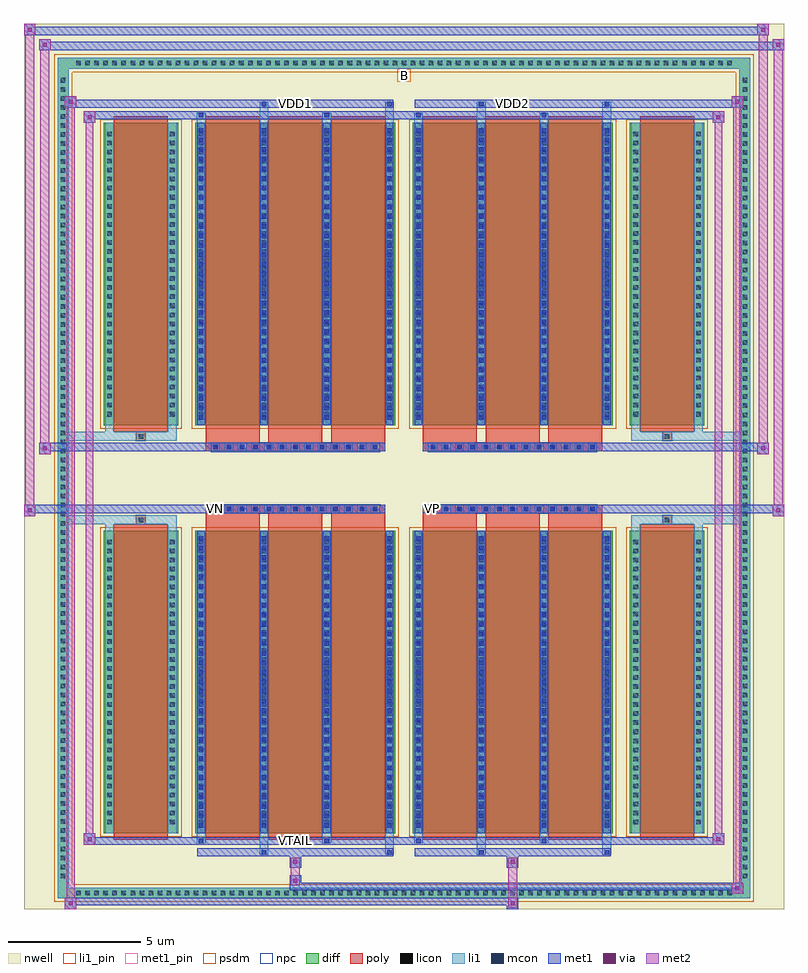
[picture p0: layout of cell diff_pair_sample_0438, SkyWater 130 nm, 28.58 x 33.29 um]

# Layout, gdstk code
import gdstk
lib = gdstk.Library(unit=1e-6, precision=5e-09)
def R(c, l, rs):  # rectangles x0, y0, x1, y1
    for r in rs: c.add(gdstk.rectangle(r[:2], r[2:], *l))
def A(c, l, x, y, w, h, nx, ny, dx, dy):  # array of equal rectangles
    R(c, l, [(x+i*dx, y+j*dy, x+i*dx+w, y+j*dy+h) for i in range(nx) for j in range(ny)])
def P(c, l, *ps):  # polygons
    for p in ps: c.add(gdstk.Polygon(p, *l))
nwell = (64, 20)
diff = (65, 20)
poly = (66, 20)
licon = (66, 44)
li1_pin = (67, 16)
li1 = (67, 20)
mcon = (67, 44)
met1_pin = (68, 16)
met1 = (68, 20)
via = (68, 44)
met2 = (69, 20)
psdm = (94, 20)
npc = (95, 20)

diff_pair_sample_0438 = lib.new_cell('diff_pair_sample_0438')
R(diff_pair_sample_0438, nwell, [(-14.29,-16.21,14.29,17.08), (-11.61,-14.4,-0.01,-0.8), (0.01,-14.4,11.61,-0.8), (-11.61,0.8,-0.01,14.4), (0.01,0.8,11.61,14.4)])
A(diff_pair_sample_0438, diff, -12.445, -15.81, 0.41, 0.41, 73, 2, 0.34, 31.21)
A(diff_pair_sample_0438, diff, -13.02, -15.165, 0.41, 0.41, 1, 89, 0, 0.34)
A(diff_pair_sample_0438, diff, 12.61, -15.165, 0.41, 0.41, 1, 89, 0, 0.34)
R(diff_pair_sample_0438, diff, [(-12.445,-15.81,12.445,-15.4), (-13.02,-15.165,-12.61,15.165), (12.61,-15.165,13.02,15.165), (-11.3,-13.355,-8.49,-1.985), (-7.85,-13.355,-0.32,-1.985), (0.32,-13.355,7.85,-1.985), (8.49,-13.355,11.3,-1.985), (-11.3,1.985,-8.49,13.355), (-7.85,1.985,-0.32,13.355), (0.32,1.985,7.85,13.355), (8.49,1.985,11.3,13.355), (-12.445,15.4,12.445,15.81)])
P(diff_pair_sample_0438, diff, [(13.02,15.81),(-13.02,15.81),(-13.02,-15.4),(-12.61,-15.4),(-12.61,15.4),(12.61,15.4),(12.61,-15.4),(-12.61,-15.4),(-13.02,-15.4),(-13.02,-15.81),(13.02,-15.81)])
A(diff_pair_sample_0438, poly, -7.46, -13.605, 2.03, 11.87, 3, 2, 2.36, 15.34)
A(diff_pair_sample_0438, poly, 0.71, -13.605, 2.03, 11.87, 3, 2, 2.36, 15.34)
A(diff_pair_sample_0438, poly, -7.46, -1.735, 2.03, 0.405, 3, 2, 2.36, 3.065)
A(diff_pair_sample_0438, poly, 0.71, -1.735, 2.03, 0.405, 3, 2, 2.36, 3.065)
A(diff_pair_sample_0438, poly, -7.25, -1.33, 0.33, 0.33, 13, 2, 0.5, 2.33)
A(diff_pair_sample_0438, poly, 0.92, -1.33, 0.33, 0.33, 13, 2, 0.5, 2.33)
R(diff_pair_sample_0438, poly, [(-10.91,-13.605,-8.88,-1.735), (8.88,-13.605,10.91,-1.735), (-10.06,-1.735,-9.73,-1.405), (-10.06,-1.735,-9.73,-1.405), (9.73,-1.735,10.06,-1.405), (9.73,-1.735,10.06,-1.405), (-7.46,-1.33,-0.71,-1), (0.71,-1.33,7.46,-1), (-7.46,1,-0.71,1.33), (0.71,1,7.46,1.33), (-10.06,1.405,-9.73,1.735), (-10.06,1.405,-9.73,1.735), (9.73,1.405,10.06,1.735), (9.73,1.405,10.06,1.735), (-10.91,1.735,-8.88,13.605), (8.88,1.735,10.91,13.605)])
A(diff_pair_sample_0438, licon, -12.325, -15.69, 0.17, 0.17, 73, 2, 0.34, 31.21)
A(diff_pair_sample_0438, licon, -12.9, -15.045, 0.17, 0.17, 1, 89, 0, 0.34)
A(diff_pair_sample_0438, licon, 12.73, -15.045, 0.17, 0.17, 1, 89, 0, 0.34)
A(diff_pair_sample_0438, licon, -11.16, -13.025, 0.17, 0.17, 1, 32, 0, 0.34)
A(diff_pair_sample_0438, licon, -8.8, -13.025, 0.17, 0.17, 1, 32, 0, 0.34)
A(diff_pair_sample_0438, licon, -7.71, -13.025, 0.17, 0.17, 4, 32, 2.36, 0.34)
A(diff_pair_sample_0438, licon, 0.46, -13.025, 0.17, 0.17, 4, 32, 2.36, 0.34)
A(diff_pair_sample_0438, licon, 8.63, -13.025, 0.17, 0.17, 1, 32, 0, 0.34)
A(diff_pair_sample_0438, licon, 10.99, -13.025, 0.17, 0.17, 1, 32, 0, 0.34)
A(diff_pair_sample_0438, licon, -7.17, -1.25, 0.17, 0.17, 13, 2, 0.5, 2.33)
A(diff_pair_sample_0438, licon, 1, -1.25, 0.17, 0.17, 13, 2, 0.5, 2.33)
A(diff_pair_sample_0438, licon, -11.16, 2.315, 0.17, 0.17, 1, 32, 0, 0.34)
A(diff_pair_sample_0438, licon, -8.8, 2.315, 0.17, 0.17, 1, 32, 0, 0.34)
A(diff_pair_sample_0438, licon, -7.71, 2.315, 0.17, 0.17, 4, 32, 2.36, 0.34)
A(diff_pair_sample_0438, licon, 0.46, 2.315, 0.17, 0.17, 4, 32, 2.36, 0.34)
A(diff_pair_sample_0438, licon, 8.63, 2.315, 0.17, 0.17, 1, 32, 0, 0.34)
A(diff_pair_sample_0438, licon, 10.99, 2.315, 0.17, 0.17, 1, 32, 0, 0.34)
R(diff_pair_sample_0438, licon, [(-9.98,-1.655,-9.81,-1.485), (9.81,-1.655,9.98,-1.485), (-9.98,1.485,-9.81,1.655), (9.81,1.485,9.98,1.655)])
R(diff_pair_sample_0438, li1_pin, [(-0.25,14.9,0.25,15.4)])
A(diff_pair_sample_0438, li1, -12.405, -15.77, 0.33, 0.33, 73, 2, 0.34, 31.21)
A(diff_pair_sample_0438, li1, -12.98, -15.125, 0.33, 0.33, 1, 89, 0, 0.34)
A(diff_pair_sample_0438, li1, 12.65, -15.125, 0.33, 0.33, 1, 89, 0, 0.34)
A(diff_pair_sample_0438, li1, -7.79, -13.355, 0.33, 11.37, 4, 2, 2.36, 15.34)
A(diff_pair_sample_0438, li1, 0.38, -13.355, 0.33, 11.37, 4, 2, 2.36, 15.34)
A(diff_pair_sample_0438, li1, -7.71, -13.155, 0.17, 0.17, 4, 31, 2.36, 0.36)
A(diff_pair_sample_0438, li1, -7.71, -13.155, 0.17, 10.97, 4, 2, 2.36, 15.34)
A(diff_pair_sample_0438, li1, 0.46, -13.155, 0.17, 0.17, 4, 31, 2.36, 0.36)
A(diff_pair_sample_0438, li1, 0.46, -13.155, 0.17, 10.97, 4, 2, 2.36, 15.34)
A(diff_pair_sample_0438, li1, -11.24, -13.105, 0.33, 0.33, 1, 32, 0, 0.34)
A(diff_pair_sample_0438, li1, -8.88, -13.105, 0.33, 0.33, 1, 32, 0, 0.34)
A(diff_pair_sample_0438, li1, -7.79, -13.105, 0.33, 0.33, 4, 32, 2.36, 0.34)
A(diff_pair_sample_0438, li1, 0.38, -13.105, 0.33, 0.33, 4, 32, 2.36, 0.34)
A(diff_pair_sample_0438, li1, 8.55, -13.105, 0.33, 0.33, 1, 32, 0, 0.34)
A(diff_pair_sample_0438, li1, 10.91, -13.105, 0.33, 0.33, 1, 32, 0, 0.34)
A(diff_pair_sample_0438, li1, -7.25, -1.33, 0.33, 0.33, 13, 2, 0.5, 2.33)
A(diff_pair_sample_0438, li1, 0.92, -1.33, 0.33, 0.33, 13, 2, 0.5, 2.33)
A(diff_pair_sample_0438, li1, -7.71, 2.185, 0.17, 0.17, 4, 31, 2.36, 0.36)
A(diff_pair_sample_0438, li1, 0.46, 2.185, 0.17, 0.17, 4, 31, 2.36, 0.36)
A(diff_pair_sample_0438, li1, -11.24, 2.235, 0.33, 0.33, 1, 32, 0, 0.34)
A(diff_pair_sample_0438, li1, -8.88, 2.235, 0.33, 0.33, 1, 32, 0, 0.34)
A(diff_pair_sample_0438, li1, -7.79, 2.235, 0.33, 0.33, 4, 32, 2.36, 0.34)
A(diff_pair_sample_0438, li1, 0.38, 2.235, 0.33, 0.33, 4, 32, 2.36, 0.34)
A(diff_pair_sample_0438, li1, 8.55, 2.235, 0.33, 0.33, 1, 32, 0, 0.34)
A(diff_pair_sample_0438, li1, 10.91, 2.235, 0.33, 0.33, 1, 32, 0, 0.34)
R(diff_pair_sample_0438, li1, [(-13.02,-15.81,-12.61,-15.4), (-13.02,-15.81,-12.61,-15.4), (-12.61,-15.81,12.61,-15.4), (12.61,-15.81,13.02,-15.4), (12.61,-15.81,13.02,-15.4), (-13.02,-15.4,-12.61,15.4), (12.61,-15.4,13.02,15.4), (-5.43,-14.16,-5.1,-13.355), (-5.35,-14.16,-5.18,-13.99), (-0.71,-14.16,-0.38,-13.355), (-0.63,-14.16,-0.46,-13.99), (2.74,-14.16,3.07,-13.355), (2.82,-14.16,2.99,-13.99), (7.46,-14.16,7.79,-13.355), (7.54,-14.16,7.71,-13.99), (-7.79,-13.73,-7.46,-13.355), (-7.71,-13.73,-7.54,-13.56), (-3.07,-13.73,-2.74,-13.355), (-2.99,-13.73,-2.82,-13.56), (0.38,-13.73,0.71,-13.355), (0.46,-13.73,0.63,-13.56), (5.1,-13.73,5.43,-13.355), (5.18,-13.73,5.35,-13.56), (-11.24,-13.355,-10.91,-1.985), (-8.88,-13.355,-8.55,-1.985), (8.55,-13.355,8.88,-1.985), (10.91,-13.355,11.24,-1.985), (-11.24,-1.985,-10.91,-1.405), (-8.88,-1.985,-8.55,-1.405), (8.55,-1.985,8.88,-1.405), (10.91,-1.985,11.24,-1.405), (-13.02,-1.735,-10.06,-1.405), (-11.24,-1.735,-10.06,-1.405), (-10.06,-1.735,-9.73,-1.405), (-9.73,-1.735,-8.55,-1.405), (8.55,-1.735,9.73,-1.405), (9.73,-1.735,10.06,-1.405), (9.73,-1.735,13.02,-1.405), (10.06,-1.735,11.24,-1.405), (-13.02,1.405,-10.06,1.735), (-11.24,1.405,-10.06,1.735), (-11.24,1.405,-10.91,1.985), (-10.06,1.405,-9.73,1.735), (-9.73,1.405,-8.55,1.735), (-8.88,1.405,-8.55,1.985), (8.55,1.405,9.73,1.735), (8.55,1.405,8.88,1.985), (9.73,1.405,10.06,1.735), (9.73,1.405,13.02,1.735), (10.06,1.405,11.24,1.735), (10.91,1.405,11.24,1.985), (-11.24,1.985,-10.91,13.355), (-8.88,1.985,-8.55,13.355), (8.55,1.985,8.88,13.355), (10.91,1.985,11.24,13.355), (-7.79,13.355,-7.46,13.73), (-5.43,13.355,-5.1,14.16), (-3.07,13.355,-2.74,13.73), (-0.71,13.355,-0.38,14.16), (0.38,13.355,0.71,13.73), (2.74,13.355,3.07,14.16), (5.1,13.355,5.43,13.73), (7.46,13.355,7.79,14.16), (-7.71,13.56,-7.54,13.73), (-2.99,13.56,-2.82,13.73), (0.46,13.56,0.63,13.73), (5.18,13.56,5.35,13.73), (-5.35,13.99,-5.18,14.16), (-0.63,13.99,-0.46,14.16), (2.82,13.99,2.99,14.16), (7.54,13.99,7.71,14.16), (-13.02,15.4,-12.61,15.81), (-13.02,15.4,-12.61,15.81), (-12.61,15.4,12.61,15.81), (12.61,15.4,13.02,15.81), (12.61,15.4,13.02,15.81)])
A(diff_pair_sample_0438, mcon, -7.71, -13.155, 0.17, 0.17, 4, 31, 2.36, 0.36)
A(diff_pair_sample_0438, mcon, 0.46, -13.155, 0.17, 0.17, 4, 31, 2.36, 0.36)
A(diff_pair_sample_0438, mcon, -7.17, -1.25, 0.17, 0.17, 13, 2, 0.5, 2.33)
A(diff_pair_sample_0438, mcon, 1, -1.25, 0.17, 0.17, 13, 2, 0.5, 2.33)
A(diff_pair_sample_0438, mcon, -7.71, 2.185, 0.17, 0.17, 4, 31, 2.36, 0.36)
A(diff_pair_sample_0438, mcon, 0.46, 2.185, 0.17, 0.17, 4, 31, 2.36, 0.36)
R(diff_pair_sample_0438, mcon, [(-5.35,-14.16,-5.18,-13.99), (-0.63,-14.16,-0.46,-13.99), (2.82,-14.16,2.99,-13.99), (7.54,-14.16,7.71,-13.99), (-7.71,-13.73,-7.54,-13.56), (-2.99,-13.73,-2.82,-13.56), (0.46,-13.73,0.63,-13.56), (5.18,-13.73,5.35,-13.56), (-7.71,13.56,-7.54,13.73), (-2.99,13.56,-2.82,13.73), (0.46,13.56,0.63,13.73), (5.18,13.56,5.35,13.73), (-5.35,13.99,-5.18,14.16), (-0.63,13.99,-0.46,14.16), (2.82,13.99,2.99,14.16), (7.54,13.99,7.71,14.16)])
R(diff_pair_sample_0438, met1_pin, [(-4.22,-13.77,-3.95,-13.5), (-7.22,-1.29,-6.95,-1.02), (0.95,-1.29,1.22,-1.02), (-4.22,13.95,-3.95,14.22), (3.95,13.95,4.22,14.22)])
A(diff_pair_sample_0438, met1, -7.77, -13.355, 0.29, 11.37, 4, 2, 2.36, 15.34)
A(diff_pair_sample_0438, met1, 0.4, -13.355, 0.29, 11.37, 4, 2, 2.36, 15.34)
A(diff_pair_sample_0438, met1, -7.77, -13.215, 0.29, 0.29, 4, 31, 2.36, 0.36)
A(diff_pair_sample_0438, met1, 0.4, -13.215, 0.29, 0.29, 4, 31, 2.36, 0.36)
A(diff_pair_sample_0438, met1, -7.23, -1.31, 0.29, 0.29, 13, 2, 0.5, 2.33)
A(diff_pair_sample_0438, met1, 0.94, -1.31, 0.29, 0.29, 13, 2, 0.5, 2.33)
A(diff_pair_sample_0438, met1, -7.77, 2.125, 0.29, 0.29, 4, 31, 2.36, 0.36)
A(diff_pair_sample_0438, met1, 0.4, 2.125, 0.29, 0.29, 4, 31, 2.36, 0.36)
R(diff_pair_sample_0438, met1, [(-12.75,-16.21,-12.32,-15.78), (3.87,-16.21,4.3,-15.78), (-12.75,-16.07,4.3,-15.78), (12.32,-15.64,12.75,-15.21), (-4.3,-15.5,12.75,-15.21), (-4.3,-15.36,-3.87,-14.93), (-4.3,-14.65,-3.87,-14.22), (3.87,-14.65,4.3,-14.22), (-7.77,-14.22,-0.4,-13.93), (-5.41,-14.22,-5.12,-13.93), (-0.69,-14.22,-0.4,-13.93), (0.4,-14.22,7.77,-13.93), (2.76,-14.22,3.05,-13.93), (7.48,-14.22,7.77,-13.93), (-12.04,-13.79,-11.61,-13.36), (-12.04,-13.79,-7.77,-13.5), (-7.77,-13.79,-7.48,-13.5), (-7.77,-13.79,-0.4,-13.5), (-3.05,-13.79,-2.76,-13.5), (-0.4,-13.79,0.4,-13.5), (0.4,-13.79,0.69,-13.5), (0.4,-13.79,7.77,-13.5), (5.12,-13.79,5.41,-13.5), (7.77,-13.79,12.04,-13.5), (11.61,-13.79,12.04,-13.36), (-14.29,-1.43,-13.86,-1), (13.86,-1.43,14.29,-1), (-14.29,-1.33,-0.71,-1), (-7.46,-1.33,-0.71,-1), (0.71,-1.33,7.46,-1), (0.71,-1.33,14.29,-1), (-13.72,0.9,-13.29,1.33), (13.29,0.9,13.72,1.33), (-13.72,1,-7.46,1.33), (-7.46,1,-0.71,1.33), (0.71,1,7.46,1.33), (7.46,1,13.72,1.33), (-12.04,13.36,-11.61,13.79), (11.61,13.36,12.04,13.79), (-12.04,13.5,-7.77,13.79), (-7.77,13.5,-7.48,13.79), (-7.77,13.5,-0.4,13.79), (-3.05,13.5,-2.76,13.79), (-0.4,13.5,0.4,13.79), (0.4,13.5,0.69,13.79), (0.4,13.5,7.77,13.79), (5.12,13.5,5.41,13.79), (7.77,13.5,12.04,13.79), (-12.75,13.93,-12.32,14.36), (-12.75,13.93,-7.77,14.22), (-7.77,13.93,-0.4,14.22), (-5.41,13.93,-5.12,14.22), (-0.69,13.93,-0.4,14.22), (0.4,13.93,7.77,14.22), (2.76,13.93,3.05,14.22), (7.48,13.93,7.77,14.22), (7.77,13.93,12.75,14.22), (12.32,13.93,12.75,14.36), (-13.72,16.08,-13.29,16.51), (-13.72,16.08,-11.61,16.41), (-11.61,16.08,11.61,16.41), (11.61,16.08,14.29,16.41), (13.86,16.08,14.29,16.51), (-14.29,16.65,-13.86,17.08), (-14.29,16.65,-11.61,16.98), (-11.61,16.65,11.61,16.98), (11.61,16.65,13.72,16.98), (13.29,16.65,13.72,17.08)])
R(diff_pair_sample_0438, via, [(-12.61,-16.07,-12.46,-15.92), (4.01,-16.07,4.16,-15.92), (12.46,-15.5,12.61,-15.35), (-4.16,-15.22,-4.01,-15.07), (-4.16,-14.51,-4.01,-14.36), (4.01,-14.51,4.16,-14.36), (-11.9,-13.65,-11.75,-13.5), (11.75,-13.65,11.9,-13.5), (-14.15,-1.29,-14,-1.14), (14,-1.29,14.15,-1.14), (-13.58,1.04,-13.43,1.19), (13.43,1.04,13.58,1.19), (-11.9,13.5,-11.75,13.65), (11.75,13.5,11.9,13.65), (-12.61,14.07,-12.46,14.22), (12.46,14.07,12.61,14.22), (-13.58,16.22,-13.43,16.37), (14,16.22,14.15,16.37), (-14.15,16.79,-14,16.94), (13.43,16.79,13.58,16.94)])
R(diff_pair_sample_0438, met2, [(-12.75,-16.21,-12.32,-15.78), (-12.68,-16.21,-12.39,14.36), (-12.39,-16.21,-12.32,-15.78), (-12.7,-16.16,-12.37,-15.83), (3.92,-16.16,4.25,-15.83), (3.92,-15.83,4.25,-14.6), (12.32,-15.64,12.75,-15.21), (12.39,-15.64,12.68,14.36), (12.68,-15.64,12.75,-15.21), (12.37,-15.59,12.7,-15.26), (-4.25,-15.31,-3.92,-14.98), (-4.25,-14.98,-3.92,-14.6), (-4.25,-14.6,-3.92,-14.27), (3.92,-14.6,4.25,-14.27), (-12.04,-13.79,-11.61,-13.36), (-11.97,-13.79,-11.68,13.79), (-11.68,-13.79,-11.61,-13.36), (11.61,-13.79,12.04,-13.36), (11.68,-13.79,11.97,13.79), (11.97,-13.79,12.04,-13.36), (-11.99,-13.74,-11.66,-13.41), (11.66,-13.74,11.99,-13.41), (-14.29,-1.43,-13.86,-1), (-14.24,-1.43,-13.91,17.08), (-13.91,-1.43,-13.86,-1), (13.86,-1.43,14.29,-1), (13.91,-1.43,14.24,16.51), (14.24,-1.43,14.29,-1), (-14.24,-1.38,-13.91,-1.05), (13.91,-1.38,14.24,-1.05), (-13.72,0.9,-13.29,1.33), (-13.67,0.9,-13.34,16.51), (-13.34,0.9,-13.29,1.33), (13.29,0.9,13.72,1.33), (13.34,0.9,13.67,17.08), (13.67,0.9,13.72,1.33), (-13.67,0.95,-13.34,1.28), (13.34,0.95,13.67,1.28), (-12.04,13.36,-11.61,13.79), (-11.68,13.36,-11.61,13.79), (11.61,13.36,12.04,13.79), (11.97,13.36,12.04,13.79), (-11.99,13.41,-11.66,13.74), (11.66,13.41,11.99,13.74), (-12.75,13.93,-12.32,14.36), (-12.39,13.93,-12.32,14.36), (12.32,13.93,12.75,14.36), (12.68,13.93,12.75,14.36), (-12.7,13.98,-12.37,14.31), (12.37,13.98,12.7,14.31), (-13.72,16.08,-13.29,16.51), (-13.34,16.08,-13.29,16.51), (13.86,16.08,14.29,16.51), (14.24,16.08,14.29,16.51), (-13.67,16.13,-13.34,16.46), (13.91,16.13,14.24,16.46), (-14.29,16.65,-13.86,17.08), (-13.91,16.65,-13.86,17.08), (13.29,16.65,13.72,17.08), (13.67,16.65,13.72,17.08), (-14.24,16.7,-13.91,17.03), (13.34,16.7,13.67,17.03)])
R(diff_pair_sample_0438, psdm, [(-11.43,-13.485,-8.36,-1.855), (-7.98,-13.485,-0.19,-1.855), (0.19,-13.485,7.98,-1.855), (8.36,-13.485,11.43,-1.855), (-11.43,1.855,-8.36,13.485), (-7.98,1.855,-0.19,13.485), (0.19,1.855,7.98,13.485), (8.36,1.855,11.43,13.485)])
P(diff_pair_sample_0438, psdm, [(13.15,15.94),(-13.15,15.94),(-13.15,-15.27),(-12.48,-15.27),(-12.48,15.27),(12.48,15.27),(12.48,-15.27),(-12.48,-15.27),(-13.15,-15.27),(-13.15,-15.94),(13.15,-15.94)])
A(diff_pair_sample_0438, npc, -7.27, -1.35, 0.37, 0.37, 13, 2, 0.5, 2.33)
A(diff_pair_sample_0438, npc, 0.9, -1.35, 0.37, 0.37, 13, 2, 0.5, 2.33)
R(diff_pair_sample_0438, npc, [(-10.08,-1.755,-9.71,-1.385), (9.71,-1.755,10.08,-1.385), (-7.27,-1.35,-6.4,-0.98), (-7.27,-1.35,-6.4,-0.98), (-6.77,-1.35,-5.9,-0.98), (-6.77,-1.35,-5.9,-0.98), (-6.27,-1.35,-5.4,-0.98), (-6.27,-1.35,-5.4,-0.98), (-5.77,-1.35,-4.9,-0.98), (-5.77,-1.35,-4.9,-0.98), (-5.27,-1.35,-4.4,-0.98), (-5.27,-1.35,-4.4,-0.98), (-4.77,-1.35,-3.9,-0.98), (-4.77,-1.35,-3.9,-0.98), (-4.27,-1.35,-3.4,-0.98), (-4.27,-1.35,-3.4,-0.98), (-3.77,-1.35,-2.9,-0.98), (-3.77,-1.35,-2.9,-0.98), (-3.27,-1.35,-2.4,-0.98), (-3.27,-1.35,-2.4,-0.98), (-2.77,-1.35,-1.9,-0.98), (-2.77,-1.35,-1.9,-0.98), (-2.27,-1.35,-1.4,-0.98), (-2.27,-1.35,-1.4,-0.98), (-1.77,-1.35,-0.9,-0.98), (-1.77,-1.35,-0.9,-0.98), (0.9,-1.35,1.77,-0.98), (0.9,-1.35,1.77,-0.98), (1.4,-1.35,2.27,-0.98), (1.4,-1.35,2.27,-0.98), (1.9,-1.35,2.77,-0.98), (1.9,-1.35,2.77,-0.98), (2.4,-1.35,3.27,-0.98), (2.4,-1.35,3.27,-0.98), (2.9,-1.35,3.77,-0.98), (2.9,-1.35,3.77,-0.98), (3.4,-1.35,4.27,-0.98), (3.4,-1.35,4.27,-0.98), (3.9,-1.35,4.77,-0.98), (3.9,-1.35,4.77,-0.98), (4.4,-1.35,5.27,-0.98), (4.4,-1.35,5.27,-0.98), (4.9,-1.35,5.77,-0.98), (4.9,-1.35,5.77,-0.98), (5.4,-1.35,6.27,-0.98), (5.4,-1.35,6.27,-0.98), (5.9,-1.35,6.77,-0.98), (5.9,-1.35,6.77,-0.98), (6.4,-1.35,7.27,-0.98), (6.4,-1.35,7.27,-0.98), (-7.27,0.98,-6.4,1.35), (-7.27,0.98,-6.4,1.35), (-6.77,0.98,-5.9,1.35), (-6.77,0.98,-5.9,1.35), (-6.27,0.98,-5.4,1.35), (-6.27,0.98,-5.4,1.35), (-5.77,0.98,-4.9,1.35), (-5.77,0.98,-4.9,1.35), (-5.27,0.98,-4.4,1.35), (-5.27,0.98,-4.4,1.35), (-4.77,0.98,-3.9,1.35), (-4.77,0.98,-3.9,1.35), (-4.27,0.98,-3.4,1.35), (-4.27,0.98,-3.4,1.35), (-3.77,0.98,-2.9,1.35), (-3.77,0.98,-2.9,1.35), (-3.27,0.98,-2.4,1.35), (-3.27,0.98,-2.4,1.35), (-2.77,0.98,-1.9,1.35), (-2.77,0.98,-1.9,1.35), (-2.27,0.98,-1.4,1.35), (-2.27,0.98,-1.4,1.35), (-1.77,0.98,-0.9,1.35), (-1.77,0.98,-0.9,1.35), (0.9,0.98,1.77,1.35), (0.9,0.98,1.77,1.35), (1.4,0.98,2.27,1.35), (1.4,0.98,2.27,1.35), (1.9,0.98,2.77,1.35), (1.9,0.98,2.77,1.35), (2.4,0.98,3.27,1.35), (2.4,0.98,3.27,1.35), (2.9,0.98,3.77,1.35), (2.9,0.98,3.77,1.35), (3.4,0.98,4.27,1.35), (3.4,0.98,4.27,1.35), (3.9,0.98,4.77,1.35), (3.9,0.98,4.77,1.35), (4.4,0.98,5.27,1.35), (4.4,0.98,5.27,1.35), (4.9,0.98,5.77,1.35), (4.9,0.98,5.77,1.35), (5.4,0.98,6.27,1.35), (5.4,0.98,6.27,1.35), (5.9,0.98,6.77,1.35), (5.9,0.98,6.77,1.35), (6.4,0.98,7.27,1.35), (6.4,0.98,7.27,1.35), (-10.08,1.385,-9.71,1.755), (9.71,1.385,10.08,1.755)])
diff_pair_sample_0438.add(gdstk.Label('VTAIL', (-4.085,-13.635), layer=68, texttype=5))
diff_pair_sample_0438.add(gdstk.Label('VN', (-7.085,-1.155), layer=68, texttype=5))
diff_pair_sample_0438.add(gdstk.Label('VP', (1.085,-1.155), layer=68, texttype=5))
diff_pair_sample_0438.add(gdstk.Label('B', (0,15.15), layer=67, texttype=5))
diff_pair_sample_0438.add(gdstk.Label('VDD2', (4.085,14.085), layer=68, texttype=5))
diff_pair_sample_0438.add(gdstk.Label('VDD1', (-4.085,14.085), layer=68, texttype=5))

lib.write_gds('diff_pair_sample_0438.gds')
